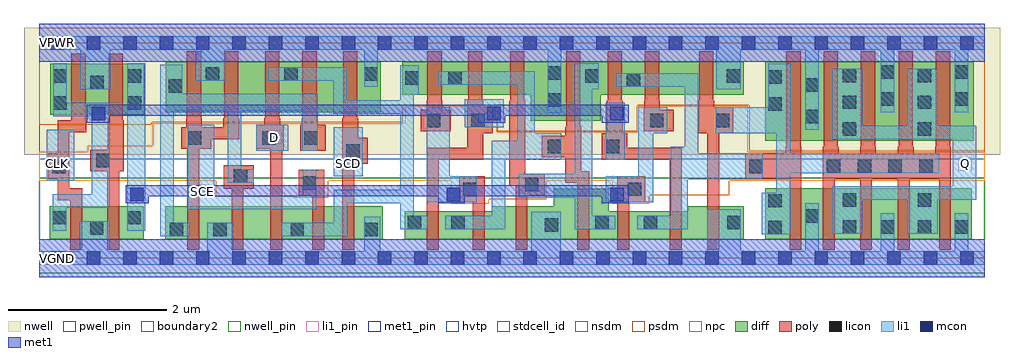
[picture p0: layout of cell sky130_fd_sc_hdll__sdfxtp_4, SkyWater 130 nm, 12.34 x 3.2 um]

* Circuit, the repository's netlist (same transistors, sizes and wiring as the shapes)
* Copyright 2020 The SkyWater PDK Authors
*
* Licensed under the Apache License, Version 2.0 (the "License");
* you may not use this file except in compliance with the License.
* You may obtain a copy of the License at
*
*     https://www.apache.org/licenses/LICENSE-2.0
*
* Unless required by applicable law or agreed to in writing, software
* distributed under the License is distributed on an "AS IS" BASIS,
* WITHOUT WARRANTIES OR CONDITIONS OF ANY KIND, either express or implied.
* See the License for the specific language governing permissions and
* limitations under the License.
*
* SPDX-License-Identifier: Apache-2.0

.SUBCKT sky130_fd_sc_hdll__sdfxtp_4 CLK D SCD SCE VGND VNB VPB VPWR Q
*.PININFO CLK:I D:I SCD:I SCE:I VGND:I VNB:I VPB:I VPWR:I Q:O
MI652 M1 clkpos S0 VNB sky130_fd_pr__nfet_01v8 m=1 w=0.36U l=0.15U mult=1 sa=0.265
+ sb=0.265 sd=0.28 area=0.063 perim=1.14
MI649 S1 S0 VGND VNB sky130_fd_pr__nfet_01v8 m=1 w=0.65U l=0.15U mult=1 sa=0.265
+ sb=0.265 sd=0.28 area=0.063 perim=1.14
MI634 M1 M0 VGND VNB sky130_fd_pr__nfet_01v8 m=1 w=0.64U l=0.15U mult=1 sa=0.265
+ sb=0.265 sd=0.28 area=0.063 perim=1.14
MI636 clkpos clkneg VGND VNB sky130_fd_pr__nfet_01v8 m=1 w=0.42U l=0.15U mult=1
+ sa=0.265 sb=0.265 sd=0.28 area=0.063 perim=1.14
MI639 sceb SCE VGND VNB sky130_fd_pr__nfet_01v8 m=1 w=0.42U l=0.15U mult=1 sa=0.265
+ sb=0.265 sd=0.28 area=0.063 perim=1.14
MI657 M0 clkpos net78 VNB sky130_fd_pr__nfet_01v8 m=1 w=0.36U l=0.15U mult=1 sa=0.265
+ sb=0.265 sd=0.28 area=0.063 perim=1.14
MI656 net78 M1 VGND VNB sky130_fd_pr__nfet_01v8 m=1 w=0.42U l=0.15U mult=1 sa=0.265
+ sb=0.265 sd=0.28 area=0.063 perim=1.14
MI641 net54 S1 VGND VNB sky130_fd_pr__nfet_01v8 m=1 w=0.42U l=0.15U mult=1 sa=0.265
+ sb=0.265 sd=0.28 area=0.063 perim=1.14
MI646 Q S1 VGND VNB sky130_fd_pr__nfet_01v8 m=4 w=0.65U l=0.15U mult=1 sa=0.265
+ sb=0.265 sd=0.28 area=0.063 perim=1.14
MI648 db clkneg M0 VNB sky130_fd_pr__nfet_01v8 m=1 w=0.36U l=0.15U mult=1 sa=0.265
+ sb=0.265 sd=0.28 area=0.063 perim=1.14
MI635 clkneg CLK VGND VNB sky130_fd_pr__nfet_01v8 m=1 w=0.42U l=0.15U mult=1 sa=0.265
+ sb=0.265 sd=0.28 area=0.063 perim=1.14
MI642 S0 clkneg net54 VNB sky130_fd_pr__nfet_01v8 m=1 w=0.36U l=0.15U mult=1 sa=0.265
+ sb=0.265 sd=0.28 area=0.063 perim=1.14
MI98 db D n0 VNB sky130_fd_pr__nfet_01v8 m=1 w=0.42U l=0.15U mult=1 sa=0.265 sb=0.265
+ sd=0.28 area=0.525 perim=3.1
MI103 n1 SCD VGND VNB sky130_fd_pr__nfet_01v8 m=1 w=0.42U l=0.15U mult=1 sa=0.265
+ sb=0.265 sd=0.28 area=0.525 perim=3.1
MI120 db SCE n1 VNB sky130_fd_pr__nfet_01v8 m=1 w=0.42U l=0.15U mult=1 sa=0.265
+ sb=0.265 sd=0.28 area=0.525 perim=3.1
MI104 n0 sceb VGND VNB sky130_fd_pr__nfet_01v8 m=1 w=0.42U l=0.15U mult=1 sa=0.265
+ sb=0.265 sd=0.28 area=0.525 perim=3.1
MI643 net122 S1 VPWR VPB sky130_fd_pr__pfet_01v8_hvt m=1 w=0.42U l=0.18U mult=1
+ sa=0.265 sb=0.265 sd=0.28 area=0.063 perim=1.14
MI640 sceb SCE VPWR VPB sky130_fd_pr__pfet_01v8_hvt m=1 w=0.64U l=0.18U mult=1
+ sa=0.265 sb=0.265 sd=0.28 area=0.063 perim=1.14
MI658 net138 M1 VPWR VPB sky130_fd_pr__pfet_01v8_hvt m=1 w=0.42U l=0.18U mult=1
+ sa=0.265 sb=0.265 sd=0.28 area=0.063 perim=1.14
MI645 Q S1 VPWR VPB sky130_fd_pr__pfet_01v8_hvt m=4 w=1.0U l=0.18U mult=1 sa=0.265
+ sb=0.265 sd=0.28 area=0.063 perim=1.14
MI651 db clkpos M0 VPB sky130_fd_pr__pfet_01v8_hvt m=1 w=0.42U l=0.18U mult=1 sa=0.265
+ sb=0.265 sd=0.28 area=0.063 perim=1.14
MI653 M1 clkneg S0 VPB sky130_fd_pr__pfet_01v8_hvt m=1 w=0.42U l=0.18U mult=1 sa=0.265
+ sb=0.265 sd=0.28 area=0.063 perim=1.14
MI659 M0 clkneg net138 VPB sky130_fd_pr__pfet_01v8_hvt m=1 w=0.42U l=0.18U mult=1
+ sa=0.265 sb=0.265 sd=0.28 area=0.063 perim=1.14
MI638 clkneg CLK VPWR VPB sky130_fd_pr__pfet_01v8_hvt m=1 w=0.64U l=0.18U mult=1
+ sa=0.265 sb=0.265 sd=0.28 area=0.063 perim=1.14
MI637 clkpos clkneg VPWR VPB sky130_fd_pr__pfet_01v8_hvt m=1 w=0.64U l=0.18U mult=1
+ sa=0.265 sb=0.265 sd=0.28 area=0.063 perim=1.14
MI650 S1 S0 VPWR VPB sky130_fd_pr__pfet_01v8_hvt m=1 w=1.0U l=0.18U mult=1 sa=0.265
+ sb=0.265 sd=0.28 area=0.063 perim=1.14
MI644 S0 clkpos net122 VPB sky130_fd_pr__pfet_01v8_hvt m=1 w=0.42U l=0.18U mult=1
+ sa=0.265 sb=0.265 sd=0.28 area=0.063 perim=1.14
MI664 M1 M0 VPWR VPB sky130_fd_pr__pfet_01v8_hvt m=1 w=0.75U l=0.18U mult=1 sa=0.265
+ sb=0.265 sd=0.28 area=0.063 perim=1.14
MI107 p0 SCE VPWR VPB sky130_fd_pr__pfet_01v8_hvt m=1 w=0.64U l=0.18U mult=1 sa=0.265
+ sb=0.265 sd=0.28 area=0.063 perim=1.14
MI94 db D p0 VPB sky130_fd_pr__pfet_01v8_hvt m=1 w=0.64U l=0.18U mult=1 sa=0.265
+ sb=0.265 sd=0.28 area=0.063 perim=1.14
MI108 p1 SCD VPWR VPB sky130_fd_pr__pfet_01v8_hvt m=1 w=0.64U l=0.18U mult=1 sa=0.265
+ sb=0.265 sd=0.28 area=0.063 perim=1.14
MI101 db sceb p1 VPB sky130_fd_pr__pfet_01v8_hvt m=1 w=0.64U l=0.18U mult=1 sa=0.265
+ sb=0.265 sd=0.28 area=0.063 perim=1.14
.ENDS sky130_fd_sc_hdll__sdfxtp_4

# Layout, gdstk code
import gdstk
lib = gdstk.Library(unit=1e-6, precision=1e-09)
def R(c, l, rs):  # rectangles x0, y0, x1, y1
    for r in rs: c.add(gdstk.rectangle(r[:2], r[2:], *l))
def A(c, l, x, y, w, h, nx, ny, dx, dy):  # array of equal rectangles
    R(c, l, [(x+i*dx, y+j*dy, x+i*dx+w, y+j*dy+h) for i in range(nx) for j in range(ny)])
def P(c, l, *ps):  # polygons
    for p in ps: c.add(gdstk.Polygon(p, *l))
nwell_pin = (64, 16)
nwell = (64, 20)
diff = (65, 20)
poly = (66, 20)
licon = (66, 44)
li1_pin = (67, 16)
li1 = (67, 20)
mcon = (67, 44)
met1_pin = (68, 16)
met1 = (68, 20)
hvtp = (78, 44)
stdcell_id = (81, 4)
nsdm = (93, 44)
psdm = (94, 20)
npc = (95, 20)
pwell_pin = (122, 16)
boundary2 = (236, 0)

sky130_fd_sc_hdll__sdfxt = lib.new_cell('sky130_fd_sc_hdll__sdfxtp_4')
R(sky130_fd_sc_hdll__sdfxt, nwell_pin, [(0.145,2.635,0.315,2.805), (0.145,2.635,0.315,2.805)])
R(sky130_fd_sc_hdll__sdfxt, nwell, [(-0.19,1.305,12.15,2.91)])
R(sky130_fd_sc_hdll__sdfxt, diff, [(0.135,0.235,1.325,0.655), (1.595,0.235,4.345,0.655), (9.18,0.235,11.795,0.885), (9.18,1.485,11.82,2.485), (0.14,1.815,1.33,2.455), (1.6,1.845,4.32,2.485)])
P(sky130_fd_sc_hdll__sdfxt, diff, [(8.91,2.485),(4.59,2.485),(4.59,2.065),(6.22,2.065),(6.22,1.735),(7.105,1.735),(7.105,2.065),(8.91,2.065)],
  [(8.91,0.655),(8.2,0.655),(8.2,0.595),(7.205,0.595),(7.205,0.875),(6.505,0.875),(6.505,0.655),(5.725,0.655),(5.725,0.595),(4.625,0.595),(4.625,0.235),(8.91,0.235)])
P(sky130_fd_sc_hdll__sdfxt, poly, [(0.6,1.74),(0.59,1.74),(0.59,2.585),(0.41,2.585),(0.41,1.74),(0.235,1.74),(0.235,1.325),(0.115,1.325),(0.115,0.995),(0.235,0.995),(0.235,0.73),(0.395,0.73),(0.395,0.105),(0.545,0.105),(0.545,0.88),(0.385,0.88),(0.385,1.59),(0.6,1.59)],
  [(1.07,1.74),(1.06,1.74),(1.06,2.585),(0.88,2.585),(0.88,1.74),(0.87,1.74),(0.87,1.37),(0.645,1.37),(0.645,1.1),(0.865,1.1),(0.865,0.105),(1.015,0.105),(1.015,1.1),(1.07,1.1)],
  [(2.53,1.77),(2.52,1.77),(2.52,2.615),(2.34,2.615),(2.34,1.77),(2.33,1.77),(2.33,1.655),(2.06,1.655),(2.06,1.77),(2.05,1.77),(2.05,2.615),(1.87,2.615),(1.87,1.77),(1.86,1.77),(1.86,1.655),(1.8,1.655),(1.8,1.385),(1.875,1.385),(1.875,0.105),(2.025,0.105),(2.025,1.385),(2.18,1.385),(2.18,1.505),(2.53,1.505)],
  [(2.715,1.175),(2.335,1.175),(2.335,0.875),(2.435,0.875),(2.435,0.105),(2.585,0.105),(2.585,0.875),(2.715,0.875)],
  [(3.095,1.685),(3.05,1.685),(3.05,1.77),(3.04,1.77),(3.04,2.615),(2.86,2.615),(2.86,1.77),(2.85,1.77),(2.85,1.685),(2.745,1.685),(2.745,1.385),(2.925,1.385),(2.925,0.105),(3.075,0.105),(3.075,1.355),(3.095,1.355)],
  [(3.605,1.115),(3.285,1.115),(3.285,0.785),(3.455,0.785),(3.455,0.105),(3.605,0.105)],
  [(3.625,1.685),(3.52,1.685),(3.52,1.77),(3.51,1.77),(3.51,2.615),(3.33,2.615),(3.33,1.77),(3.32,1.77),(3.32,1.685),(3.305,1.685),(3.305,1.355),(3.625,1.355)],
  [(4.155,1.52),(4.035,1.52),(4.035,1.77),(4.025,1.77),(4.025,2.615),(3.845,2.615),(3.845,1.77),(3.835,1.77),(3.835,0.105),(3.985,0.105),(3.985,1.19),(4.155,1.19)],
  [(5.205,1.875),(5.1,1.875),(5.1,1.99),(5.09,1.99),(5.09,2.615),(4.91,2.615),(4.91,1.99),(4.9,1.99),(4.9,1.875),(4.825,1.875),(4.825,1.605),(5.205,1.605)],
  [(5.635,1.035),(5.315,1.035),(5.315,0.705),(5.485,0.705),(5.485,0.105),(5.635,0.105)],
  [(5.735,1.905),(5.615,1.905),(5.615,1.99),(5.605,1.99),(5.605,2.615),(5.425,2.615),(5.425,1.99),(5.415,1.99),(5.415,1.395),(4.905,1.395),(4.905,0.105),(5.055,0.105),(5.055,1.245),(5.615,1.245),(5.615,1.575),(5.735,1.575)],
  [(6.395,1.065),(6.145,1.065),(6.145,1.99),(6.135,1.99),(6.135,2.615),(5.955,2.615),(5.955,1.99),(5.945,1.99),(5.945,0.915),(6.025,0.915),(6.025,0.105),(6.175,0.105),(6.175,0.795),(6.395,0.795)],
  [(6.955,1.1),(6.855,1.1),(6.855,1.66),(6.845,1.66),(6.845,2.615),(6.665,2.615),(6.665,1.66),(6.655,1.66),(6.655,1.545),(6.355,1.545),(6.355,1.275),(6.655,1.275),(6.655,0.95),(6.805,0.95),(6.805,0.105),(6.955,0.105)],
  [(7.665,1.035),(7.31,1.035),(7.31,0.105),(7.46,0.105),(7.46,0.705),(7.665,0.705)],
  [(8.025,1.875),(7.85,1.875),(7.85,1.99),(7.84,1.99),(7.84,2.615),(7.66,2.615),(7.66,1.99),(7.65,1.99),(7.65,1.875),(7.645,1.875),(7.645,1.605),(8.025,1.605)],
  [(8.125,1.395),(7.435,1.395),(7.435,1.575),(7.38,1.575),(7.38,1.99),(7.37,1.99),(7.37,2.615),(7.19,2.615),(7.19,1.99),(7.18,1.99),(7.18,1.575),(7.115,1.575),(7.115,1.245),(7.975,1.245),(7.975,0.105),(8.125,0.105)],
  [(8.775,1.905),(8.535,1.905),(8.535,1.99),(8.525,1.99),(8.525,2.615),(8.345,2.615),(8.345,1.99),(8.335,1.99),(8.335,1.575),(8.45,1.575),(8.45,0.105),(8.6,0.105),(8.6,1.575),(8.775,1.575)],
  [(9.64,1.41),(9.63,1.41),(9.63,2.615),(9.45,2.615),(9.45,1.41),(9.44,1.41),(9.44,1.325),(8.93,1.325),(8.93,0.995),(9.49,0.995),(9.49,0.105),(9.64,0.105)],
  [(11.53,1.41),(11.52,1.41),(11.52,2.615),(11.34,2.615),(11.34,1.41),(11.33,1.41),(11.33,1.325),(11.06,1.325),(11.06,1.41),(11.05,1.41),(11.05,2.615),(10.87,2.615),(10.87,1.41),(10.86,1.41),(10.86,1.325),(10.58,1.325),(10.58,1.41),(10.57,1.41),(10.57,2.615),(10.39,2.615),(10.39,1.41),(10.38,1.41),(10.38,1.325),(10.11,1.325),(10.11,1.41),(10.1,1.41),(10.1,2.615),(9.92,2.615),(9.92,1.41),(9.91,1.41),(9.91,0.105),(10.06,0.105),(10.06,0.995),(10.38,0.995),(10.38,0.105),(10.53,0.105),(10.53,0.995),(10.86,0.995),(10.86,0.105),(11.01,0.105),(11.01,0.995),(11.38,0.995),(11.38,0.105),(11.53,0.105)])
A(sky130_fd_sc_hdll__sdfxt, licon, 10.64, 0.31, 0.17, 0.17, 3, 1, 0.47, 0)
A(sky130_fd_sc_hdll__sdfxt, licon, 9.96, 1.075, 0.17, 0.17, 4, 1, 0.39, 0)
A(sky130_fd_sc_hdll__sdfxt, licon, 10.16, 1.545, 0.17, 0.17, 1, 3, 0, 0.34)
A(sky130_fd_sc_hdll__sdfxt, licon, 11.11, 1.545, 0.17, 0.17, 1, 3, 0, 0.34)
R(sky130_fd_sc_hdll__sdfxt, licon, [(1.655,0.275,1.825,0.445), (2.205,0.275,2.375,0.445), (3.18,0.275,3.35,0.445), (4.115,0.275,4.285,0.445), (0.645,0.295,0.815,0.465), (9.22,0.3,9.39,0.47), (10.16,0.31,10.33,0.48), (6.395,0.335,6.565,0.505), (4.665,0.365,4.835,0.535), (5.215,0.365,5.385,0.535), (7.035,0.365,7.205,0.535), (7.645,0.365,7.815,0.535), (8.7,0.365,8.87,0.535), (0.175,0.425,0.345,0.595), (1.115,0.425,1.285,0.595), (9.69,0.445,9.86,0.615), (9.22,0.64,9.39,0.81), (10.16,0.65,10.33,0.82), (11.11,0.65,11.28,0.82), (5.365,0.785,5.535,0.955), (7.445,0.785,7.615,0.955), (6.145,0.845,6.315,1.015), (3.335,0.865,3.505,1.035), (2.465,0.955,2.635,1.125), (0.165,1.075,0.335,1.245), (8.98,1.075,9.15,1.245), (0.725,1.15,0.895,1.32), (3.885,1.27,4.055,1.44), (6.435,1.325,6.605,1.495), (7.165,1.325,7.335,1.495), (1.88,1.435,2.05,1.605), (2.825,1.435,2.995,1.605), (3.355,1.435,3.525,1.605), (4.905,1.655,5.075,1.825), (5.465,1.655,5.635,1.825), (7.725,1.655,7.895,1.825), (8.555,1.655,8.725,1.825), (9.69,1.705,9.86,1.875), (9.22,1.865,9.39,2.035), (0.18,1.875,0.35,2.045), (1.12,1.875,1.29,2.045), (6.435,1.915,6.605,2.085), (10.64,1.925,10.81,2.095), (11.58,1.925,11.75,2.095), (1.64,2.09,1.81,2.26), (9.69,2.105,9.86,2.275), (0.65,2.135,0.82,2.305), (7.43,2.165,7.6,2.335), (4.63,2.19,4.8,2.36), (5.175,2.19,5.345,2.36), (9.22,2.205,9.39,2.375), (0.18,2.215,0.35,2.385), (1.12,2.215,1.29,2.385), (6.905,2.215,7.075,2.385), (8.695,2.215,8.865,2.385), (2.11,2.245,2.28,2.415), (3.1,2.245,3.27,2.415), (4.11,2.245,4.28,2.415), (6.435,2.255,6.605,2.425), (10.64,2.265,10.81,2.435), (11.58,2.265,11.75,2.435)])
R(sky130_fd_sc_hdll__sdfxt, li1_pin, [(1.985,0.76,2.155,0.93), (0.145,1.105,0.315,1.275), (3.82,1.105,3.99,1.275), (11.62,1.105,11.79,1.275), (2.905,1.445,3.075,1.615)])
R(sky130_fd_sc_hdll__sdfxt, li1, [(1.115,0.345,1.345,2.465), (0.095,0.975,0.445,1.625), (3.725,1.035,4.095,1.655), (7.165,1.245,7.405,1.965), (2.745,1.355,3.15,1.685), (5.385,1.655,5.875,2.01)])
P(sky130_fd_sc_hdll__sdfxt, li1, [(11.96,2.805),(0,2.805),(0,2.635),(0.52,2.635),(0.52,2.135),(0.9,2.135),(0.9,2.635),(1.98,2.635),(1.98,2.245),(2.36,2.245),(2.36,2.635),(4.11,2.635),(4.11,2.165),(4.28,2.165),(4.28,2.635),(6.435,2.635),(6.435,1.835),(6.605,1.835),(6.605,2.635),(8.565,2.635),(8.565,2.135),(8.87,2.135),(8.87,2.635),(9.69,2.635),(9.69,1.625),(9.86,1.625),(9.86,2.635),(10.64,2.635),(10.64,1.845),(10.81,1.845),(10.81,2.635),(11.58,2.635),(11.58,1.845),(11.75,1.845),(11.75,2.635),(11.96,2.635)],
  [(11.85,1.675),(11.36,1.675),(11.36,2.395),(10.98,2.395),(10.98,1.675),(10.41,1.675),(10.41,2.395),(10.03,2.395),(10.03,1.505),(11.55,1.505),(11.55,0.905),(10.03,0.905),(10.03,0.305),(10.41,0.305),(10.41,0.735),(10.98,0.735),(10.98,0.305),(11.36,0.305),(11.36,0.735),(11.85,0.735)],
  [(5.535,1.035),(5.195,1.035),(5.195,1.905),(4.905,1.905),(4.905,0.705),(5.535,0.705)],
  [(4.915,0.535),(4.735,0.535),(4.735,2.065),(4.8,2.065),(4.8,2.44),(4.565,2.44),(4.565,1.995),(3.89,1.995),(3.89,2.415),(2.895,2.415),(2.895,2.245),(3.72,2.245),(3.72,1.825),(4.565,1.825),(4.565,0.865),(3.725,0.865),(3.725,0.445),(3.07,0.445),(3.07,0.275),(3.895,0.275),(3.895,0.695),(4.565,0.695),(4.565,0.365),(4.915,0.365)],
  [(11.38,1.325),(9.505,1.325),(9.505,2.455),(9.22,2.455),(9.22,1.905),(8.555,1.905),(8.555,1.575),(9.32,1.575),(9.32,0.825),(9.14,0.825),(9.14,0.3),(9.5,0.3),(9.5,1.075),(11.38,1.075)],
  [(11.96,0.085),(11.75,0.085),(11.75,0.565),(11.58,0.565),(11.58,0.085),(10.81,0.085),(10.81,0.565),(10.64,0.565),(10.64,0.085),(9.86,0.085),(9.86,0.695),(9.69,0.695),(9.69,0.085),(8.87,0.085),(8.87,0.615),(8.45,0.615),(8.45,0.085),(6.595,0.085),(6.595,0.585),(6.225,0.585),(6.225,0.085),(4.315,0.085),(4.315,0.525),(4.115,0.525),(4.115,0.085),(2.455,0.085),(2.455,0.445),(2.125,0.445),(2.125,0.085),(0.895,0.085),(0.895,0.465),(0.515,0.465),(0.515,0.085),(0,0.085),(0,-0.085),(11.96,-0.085)],
  [(3.525,2.075),(1.81,2.075),(1.81,2.445),(1.535,2.445),(1.535,0.275),(1.905,0.275),(1.905,0.445),(1.705,0.445),(1.705,1.86),(2.385,1.86),(2.385,0.955),(2.715,0.955),(2.715,1.125),(2.555,1.125),(2.555,1.86),(3.33,1.86),(3.33,1.355),(3.525,1.355)],
  [(3.505,1.115),(3.335,1.115),(3.335,0.785),(2.215,0.785),(2.215,1.685),(1.88,1.685),(1.88,0.615),(3.505,0.615)],
  [(0.895,1.965),(0.35,1.965),(0.35,2.465),(0.18,2.465),(0.18,1.795),(0.665,1.795),(0.665,0.805),(0.175,0.805),(0.175,0.345),(0.345,0.345),(0.345,0.635),(0.895,0.635)],
  [(7.285,0.535),(6.995,0.535),(6.995,2.135),(7.075,2.135),(7.075,2.465),(6.775,2.465),(6.775,1.065),(6.065,1.065),(6.065,0.765),(6.775,0.765),(6.775,0.365),(7.285,0.365)],
  [(6.605,1.575),(6.265,1.575),(6.265,2.36),(5.045,2.36),(5.045,2.19),(6.045,2.19),(6.045,1.485),(5.725,1.485),(5.725,0.535),(5.135,0.535),(5.135,0.365),(5.895,0.365),(5.895,1.245),(6.605,1.245)],
  [(7.945,1.905),(7.575,1.905),(7.575,1.035),(7.165,1.035),(7.165,0.705),(7.765,0.705),(7.765,1.575),(7.945,1.575)],
  [(9.15,1.325),(8.335,1.325),(8.335,2.335),(7.3,2.335),(7.3,2.165),(8.165,2.165),(8.165,1.405),(7.985,1.405),(7.985,0.535),(7.565,0.535),(7.565,0.365),(8.205,0.365),(8.205,0.995),(9.15,0.995)])
A(sky130_fd_sc_hdll__sdfxt, mcon, 0.145, -0.085, 0.17, 0.17, 26, 2, 0.46, 2.72)
R(sky130_fd_sc_hdll__sdfxt, mcon, [(1.155,0.72,1.325,0.89), (5.155,0.72,5.325,0.89), (7.225,0.72,7.395,0.89), (0.665,1.74,0.835,1.91), (5.665,1.74,5.835,1.91), (7.225,1.74,7.395,1.91)])
R(sky130_fd_sc_hdll__sdfxt, met1_pin, [(0.145,-0.085,0.315,0.085), (0.145,2.635,0.315,2.805)])
R(sky130_fd_sc_hdll__sdfxt, met1, [(0,-0.24,11.96,0.24), (0,2.48,11.96,2.96)])
P(sky130_fd_sc_hdll__sdfxt, met1, [(7.455,0.92),(1.095,0.92),(1.095,0.69),(1.385,0.69),(1.385,0.78),(5.045,0.78),(5.045,0.69),(5.385,0.69),(5.385,0.78),(7.115,0.78),(7.115,0.69),(7.455,0.69)],
  [(7.455,1.94),(0.605,1.94),(0.605,1.71),(0.895,1.71),(0.895,1.8),(5.555,1.8),(5.555,1.71),(5.895,1.71),(5.895,1.8),(7.115,1.8),(7.115,1.71),(7.455,1.71)])
R(sky130_fd_sc_hdll__sdfxt, hvtp, [(0,1.25,11.96,2.72)])
R(sky130_fd_sc_hdll__sdfxt, stdcell_id, [(0,0,11.96,2.72)])
R(sky130_fd_sc_hdll__sdfxt, nsdm, [(0,-0.19,11.96,1.015)])
P(sky130_fd_sc_hdll__sdfxt, psdm, [(11.96,2.91),(0,2.91),(0,1.685),(1.425,1.685),(1.425,1.715),(4.6,1.715),(4.6,1.935),(5.795,1.935),(5.795,1.605),(7.565,1.605),(7.565,1.935),(8.98,1.935),(8.98,1.355),(11.96,1.355)])
P(sky130_fd_sc_hdll__sdfxt, npc, [(11.96,1.345),(8.96,1.345),(8.96,1.925),(7.575,1.925),(7.575,1.595),(5.785,1.595),(5.785,1.925),(4.63,1.925),(4.63,1.705),(1.435,1.705),(1.435,1.42),(0.615,1.42),(0.615,1.345),(0,1.345),(0,0.975),(2.235,0.975),(2.235,0.775),(3.205,0.775),(3.205,0.765),(3.655,0.765),(3.655,0.975),(5.215,0.975),(5.215,0.685),(5.685,0.685),(5.685,0.745),(6.415,0.745),(6.415,0.975),(7.245,0.975),(7.245,0.685),(7.715,0.685),(7.715,0.795),(8.725,0.795),(8.725,0.975),(11.96,0.975)])
R(sky130_fd_sc_hdll__sdfxt, pwell_pin, [(0.145,-0.085,0.315,0.085), (0.145,-0.085,0.315,0.085)])
R(sky130_fd_sc_hdll__sdfxt, boundary2, [(0,0,11.96,2.72)])
sky130_fd_sc_hdll__sdfxt.add(gdstk.Label('VGND', (0.23,0), layer=68, texttype=5))
sky130_fd_sc_hdll__sdfxt.add(gdstk.Label('VPWR', (0.23,2.72), layer=68, texttype=5))
sky130_fd_sc_hdll__sdfxt.add(gdstk.Label('SCD', (3.91,1.19), layer=67, texttype=5))
sky130_fd_sc_hdll__sdfxt.add(gdstk.Label('D', (2.975,1.53), layer=67, texttype=5))
sky130_fd_sc_hdll__sdfxt.add(gdstk.Label('SCE', (2.07,0.84), layer=67, texttype=5))
sky130_fd_sc_hdll__sdfxt.add(gdstk.Label('CLK', (0.23,1.19), layer=67, texttype=5))
sky130_fd_sc_hdll__sdfxt.add(gdstk.Label('Q', (11.715,1.19), layer=67, texttype=5))
sky130_fd_sc_hdll__sdfxt.add(gdstk.Label('VNB', (0.23,0), layer=64, texttype=59))
sky130_fd_sc_hdll__sdfxt.add(gdstk.Label('VNB', (0.23,0), layer=64, texttype=59))
sky130_fd_sc_hdll__sdfxt.add(gdstk.Label('VPB', (0.23,2.72), layer=64, texttype=5))
sky130_fd_sc_hdll__sdfxt.add(gdstk.Label('VPB', (0.23,2.72), layer=64, texttype=5))
sky130_fd_sc_hdll__sdfxt.add(gdstk.Label('sdfxtp_4', (0,0), layer=83, texttype=44))

lib.write_gds('sky130_fd_sc_hdll__sdfxtp_4.gds')
